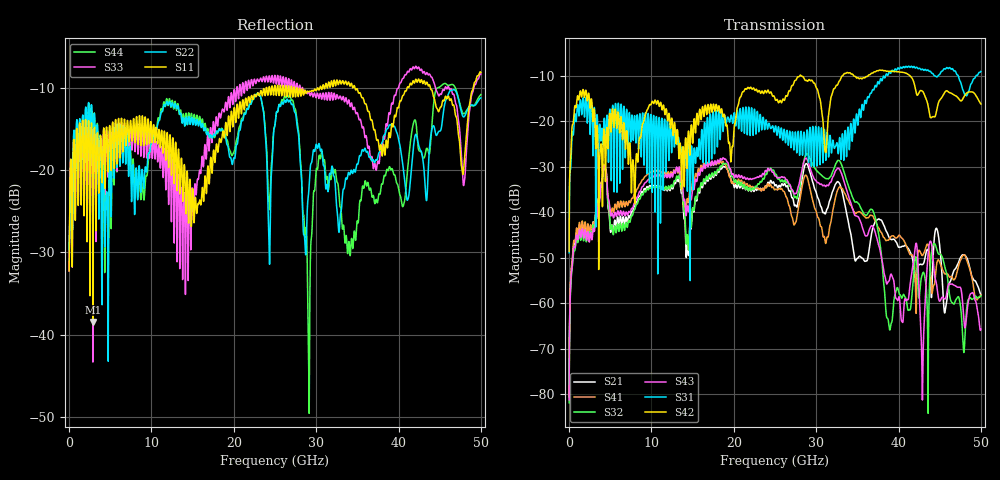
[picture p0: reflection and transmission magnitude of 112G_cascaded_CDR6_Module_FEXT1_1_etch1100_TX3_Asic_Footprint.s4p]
! Created Wed Feb 27 11:31:04 2019
# hz S ma R 50
! 4 Port Network Data from SP1.SP block
! freq  magS11  angS11  magS12  angS12  magS13  angS13  magS14  angS14
!  magS21  angS21  magS22  angS22  magS23  angS23  magS24  angS24
!  magS31  angS31  magS32  angS32  magS33  angS33  magS34  angS34
!  magS41  angS41  magS42  angS42  magS43  angS43  magS44  angS44
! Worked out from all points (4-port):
!   5000 points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, 10 MHz to 50 GHz, reference 50 ohm
!   strongest paths, dB at 10 MHz, 12.51 GHz, 25.01 GHz, 37.51 GHz, 50 GHz:
!     S42: -48.6, -19.6, -15.1, -8.8, -16.1
!     S31: -48.9, -24.3, -21.4, -11.2, -9.0
!     S43: -81.3, -32.1, -32.0, -46.7, -65.7
!     S32: -81.9, -34.2, -31.6, -43.9, -58.4
!     S41: -80.1, -31.7, -35.0, -43.3, -58.2
!     S21: -80.6, -34.6, -34.2, -41.5, -58.2
!   lowest |S11| = -38.4 dB at 2.9 GHz (marker M1), VSWR 1.02, Z = 50.4 + j1.15 ohm
!   |S11| at or under -10 dB: start of sweep to 23.95 GHz; 34.71 GHz to 41.06 GHz (6.349 GHz wide, 16.8 % of centre); 43.86 GHz to 49.07 GHz (5.208 GHz wide, 11.2 % of centre)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
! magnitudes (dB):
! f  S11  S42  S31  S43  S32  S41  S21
! 10 MHz  -32.3  -48.6  -48.9  -81.3  -81.9  -80.1  -80.6
! 720 MHz  -23.2  -16.5  -18.3  -47.8  -48.3  -46.6  -47.0
! 2.9 GHz  -38.4  -20.1  -27.6  -43.9  -42.8  -42.7  -42.3
! 26.67 GHz  -9.8  -13.3  -24.4  -33.7  -34.1  -38.4  -35.2
! 28.79 GHz  -10.7  -10.9  -24.9  -28.1  -27.2  -31.9  -29.3
! 38.94 GHz  -15.9  -9.0  -9.2  -54.6  -65.9  -45.7  -45.7
! 50 GHz  -8.1  -16.1  -9.0  -65.7  -58.4  -58.2  -58.2
